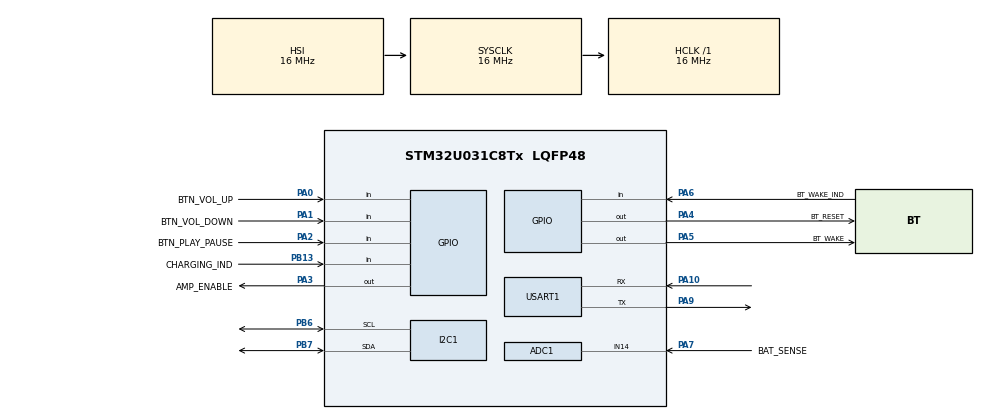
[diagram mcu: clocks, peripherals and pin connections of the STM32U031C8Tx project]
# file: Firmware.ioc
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ADC1.Channel-0\#ChannelRegularConversion=ADC_CHANNEL_14
ADC1.NbrOfConversionFlag=1
ADC1.Rank-0\#ChannelRegularConversion=1
ADC1.RankArg-0\#ChannelRegularConversion=ADC_REGULAR_RANK_1
ADC1.SamplingTime-0\#ChannelRegularConversion=ADC_SAMPLINGTIME_COMMON_1
ADC1.SamplingTimeCommon1=ADC_SAMPLETIME_160CYCLES_5
ADC1.SelectedChannel=ADC_CHANNEL_14
ADC1.master=1
I2C1.Timing=0x00303D5B
Mcu.Family=STM32U0
Mcu.Name=STM32U031C8Tx
Mcu.Package=LQFP48
NVIC.PriorityGroup=NVIC_PRIORITYGROUP_2
NVIC.USART1_IRQn=true\:0\:0\:false\:false\:true\:true\:true\:true
PA0.GPIO_Label=BTN_VOL_UP
PA0.GPIO_PuPd=GPIO_PULLUP
PA0.Signal=GPIO_Input
PA1.GPIO_Label=BTN_VOL_DOWN
PA1.GPIO_PuPd=GPIO_PULLUP
PA1.Signal=GPIO_Input
PA10.Mode=Asynchronous
PA10.Signal=USART1_RX
PA13\ (SWDIO).Mode=Serial_Wire
PA13\ (SWDIO).Signal=DEBUG_JTMS-SWDIO
PA14\ (SWCLK).Mode=Serial_Wire
PA14\ (SWCLK).Signal=DEBUG_JTCK-SWCLK
PA2.GPIO_Label=BTN_PLAY_PAUSE
PA2.GPIO_PuPd=GPIO_PULLUP
PA2.Signal=GPIO_Input
PA3.GPIO_Label=AMP_ENABLE
PA3.Signal=GPIO_Output
PA4.GPIO_Label=BT_RESET
PA4.GPIO_ModeDefaultOutputPP=GPIO_MODE_OUTPUT_OD
PA4.GPIO_PuPd=GPIO_NOPULL
PA4.PinState=GPIO_PIN_SET
PA4.Signal=GPIO_Output
PA5.GPIO_Label=BT_WAKE
PA5.Signal=GPIO_Output
PA6.GPIO_Label=BT_WAKE_IND
PA6.Signal=GPIO_Input
PA7.GPIO_Label=BAT_SENSE
PA7.Mode=IN14
PA7.Signal=ADC1_IN14
PA9.Mode=Asynchronous
PA9.Signal=USART1_TX
PB13.GPIO_Label=CHARGING_IND
PB13.GPIO_PuPd=GPIO_NOPULL
PB13.Signal=GPIO_Input
PB6.Mode=I2C
PB6.Signal=I2C1_SCL
PB7.Mode=I2C
PB7.Signal=I2C1_SDA
ProjectManager.HeapSize=0x200
ProjectManager.StackSize=0x400
ProjectManager.TargetToolchain=STM32CubeIDE
RCC.AHBFreq_Value=16000000
RCC.CortexFreq_Value=16000000
RCC.HCLKFreq_Value=16000000
RCC.HSE_VALUE=4000000
RCC.HSI48_VALUE=48000000
RCC.HSI_VALUE=16000000
RCC.LSE_VALUE=32768
RCC.MSI_VALUE=4000000
RCC.SYSCLKFreq_VALUE=16000000
RCC.VCOOutputFreq_Value=64000000
USART1.VirtualMode-Asynchronous=VM_ASYNC
VP_PWR_VS_SECSignals.Mode=Security/Privilege
board=custom

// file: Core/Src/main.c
/* USER CODE BEGIN Header */
/**
  ******************************************************************************
  * @file           : main.c
  * @brief          : Main program body
  ******************************************************************************
  * @attention
  *
  * Copyright (c) 2026 STMicroelectronics.
  * All rights reserved.
  *
  * This software is licensed under terms that can be found in the LICENSE file
  * in the root directory of this software component.
  * If no LICENSE file comes with this software, it is provided AS-IS.
  *
  ******************************************************************************
  */
/* USER CODE END Header */
#include "main.h"
#include "adc.h"
#include "i2c.h"
#include "gpio.h"

/* USER CODE BEGIN Includes */
#include "battery_monitor.h"
#include "headphone_controls.h"
#include "BM83_UART.h"
#include "usart.h"
/* USER CODE END Includes */

/* USER CODE BEGIN PTD */
typedef enum
{
    AUDIO_WAITING_FOR_BATTERY,
    AUDIO_RUNNING,
    AUDIO_LOW_BATTERY
} AudioState;
/* USER CODE END PTD */

/* USER CODE BEGIN PD */
#define BATTERY_SHUTDOWN_MV    3300U
#define BATTERY_READ_PERIOD_MS 1000U
/* USER CODE END PD */

/* USER CODE BEGIN PV */
static BatteryReading battery;
static HAL_StatusTypeDef battery_status = HAL_ERROR;
static uint32_t battery_last_read_ms;
static AudioState audio_state = AUDIO_WAITING_FOR_BATTERY;
/* USER CODE END PV */

void SystemClock_Config(void);

/* USER CODE BEGIN 0 */
static void UpdateBatteryAndAudio(void)
{
    battery_status = BatteryMonitor_ReadTracked(&hadc1, &battery);

    /* Only make a decision from a fresh, successful reading. */
    if (battery_status != HAL_OK || audio_state == AUDIO_LOW_BATTERY)
    {
        return;
    }

    if (battery.battery_mv <= BATTERY_SHUTDOWN_MV)
    {
        HAL_GPIO_WritePin(AMP_ENABLE_GPIO_Port, AMP_ENABLE_Pin, GPIO_PIN_RESET);
        audio_state = AUDIO_LOW_BATTERY;
        return;
    }

    if (audio_state == AUDIO_WAITING_FOR_BATTERY)
    {
        if (HeadphoneControls_Init(&hi2c1) != HAL_OK)
        {
            Error_Handler();
        }

        audio_state = AUDIO_RUNNING;
    }
}
/* USER CODE END 0 */

int main(void)
{

  /* MCU Configuration--------------------------------------------------------*/

  /* Reset of all peripherals, Initializes the Flash interface and the Systick. */
  HAL_Init();

  /* Configure the system clock */
  SystemClock_Config();

  /* Initialize all configured peripherals */
  MX_GPIO_Init();
  MX_ADC1_Init();
  MX_I2C1_Init();
  MX_USART1_UART_Init();

  /* USER CODE BEGIN 2 */

  if (BM83_Init(&huart1) != HAL_OK)
  {
      Error_Handler();
  }
  /* Calibrate ADC once after the generated peripheral setup. */
  if (BatteryMonitor_Init(&hadc1) != HAL_OK)
  {
      Error_Handler();
  }

  HAL_Delay(20U); /* Allow the battery-divider filter to settle. */
  UpdateBatteryAndAudio();

  battery_last_read_ms = HAL_GetTick();
  /* USER CODE END 2 */
  /* Infinite loop */
  while (1)
  {

    /* USER CODE BEGIN 3 */
	  uint32_t now = HAL_GetTick();

	      if ((uint32_t)(now - battery_last_read_ms) >= BATTERY_READ_PERIOD_MS)
	      {
	          battery_last_read_ms = now;
	          UpdateBatteryAndAudio();
	      }

	      if (audio_state == AUDIO_RUNNING && HeadphoneControls_Process() != HAL_OK)
	      {
	          Error_Handler();
	      }

	      bool play_pause_pressed = false;

	      if (audio_state == AUDIO_RUNNING)
	      {
	          play_pause_pressed = HeadphoneControls_TakePlayPause();
	      }

	      BM83_Process(audio_state == AUDIO_RUNNING, play_pause_pressed);
	  }
  }
  /* USER CODE END 3 */

void SystemClock_Config(void)
{
  RCC_OscInitTypeDef RCC_OscInitStruct = {0};
  RCC_ClkInitTypeDef RCC_ClkInitStruct = {0};

  /** Configure the main internal regulator output voltage
  */
  HAL_PWREx_ControlVoltageScaling(PWR_REGULATOR_VOLTAGE_SCALE2);

  /** Initializes the RCC Oscillators according to the specified parameters
  * in the RCC_OscInitTypeDef structure.
  */
  RCC_OscInitStruct.OscillatorType = RCC_OSCILLATORTYPE_HSI;
  RCC_OscInitStruct.HSIState = RCC_HSI_ON;
  RCC_OscInitStruct.HSICalibrationValue = RCC_HSICALIBRATION_DEFAULT;
  RCC_OscInitStruct.PLL.PLLState = RCC_PLL_NONE;
  if (HAL_RCC_OscConfig(&RCC_OscInitStruct) != HAL_OK)
  {
    Error_Handler();
  }

  /** Initializes the CPU, AHB and APB buses clocks
  */
  RCC_ClkInitStruct.ClockType = RCC_CLOCKTYPE_HCLK|RCC_CLOCKTYPE_SYSCLK
                              |RCC_CLOCKTYPE_PCLK1;
  RCC_ClkInitStruct.SYSCLKSource = RCC_SYSCLKSOURCE_HSI;
  RCC_ClkInitStruct.AHBCLKDivider = RCC_SYSCLK_DIV1;
  RCC_ClkInitStruct.APB1CLKDivider = RCC_HCLK_DIV1;

  if (HAL_RCC_ClockConfig(&RCC_ClkInitStruct, FLASH_LATENCY_1) != HAL_OK)
  {
    Error_Handler();
  }
}

void Error_Handler(void)
{
  __disable_irq();
  while (1)
  {
  }
}
